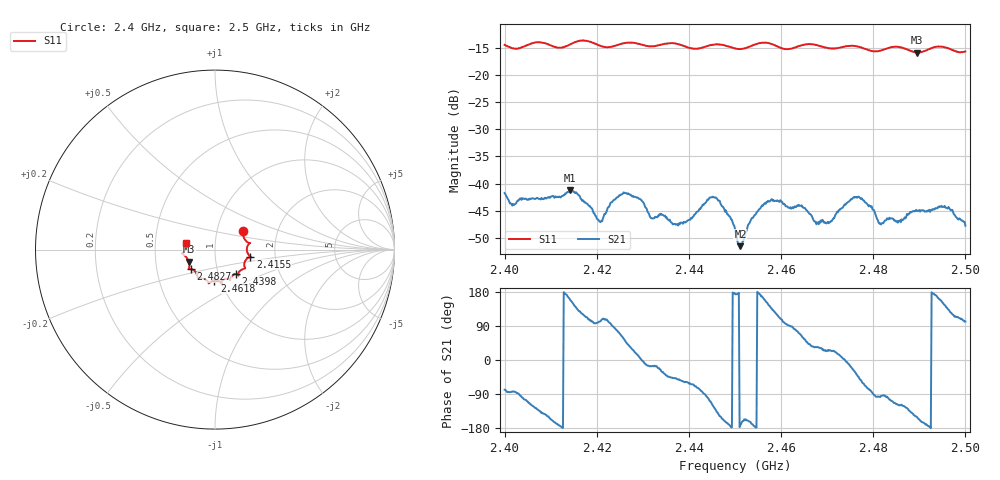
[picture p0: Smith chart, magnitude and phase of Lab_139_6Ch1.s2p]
# Hz S RI R 50
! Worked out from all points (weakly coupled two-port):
!   601 points, 2.4 GHz to 2.5 GHz, reference 50 ohm
!   highest |S21| = -41.18 dB at 2.4142 GHz (marker M1); lowest = -51.5 dB at 2.4512 GHz (marker M2)
!   lowest |S11| = -15.9 dB at 2.4895 GHz (marker M3), VSWR 1.38, Z = 37 - j5.04 ohm
!   |S11| at or under -10 dB: start of sweep to end of sweep
!   S12 and S22 are empty: the file has one direction only
!   S11 on the Smith chart (normalised r, x): 2.4 GHz: 1.33, +0.29; 2.4155 GHz: 1.49, -0.12; 2.4398 GHz: 1.21, -0.34; 2.4618 GHz: 0.94, -0.33; 2.4827 GHz: 0.75, -0.17; 2.5 GHz: 0.72, +0.06
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2.4e9  0.1557 0.1063  0.00165 -0.00803  0 0  0 0
2.402e9  0.1582 0.0737  0.00078 -0.00629  0 0  0 0
2.414167e9  0.1879 -0.0292  -0.00821 0.00298  0 0  0 0
2.4155e9  0.1974 -0.0394  -0.00625 0.00552  0 0  0 0
2.416667e9  0.2022 -0.0429  -0.00393 0.006  0 0  0 0
2.420667e9  0.1784 -0.0499  -0.000888 0.00437  0 0  0 0
2.426e9  0.1672 -0.1018  0.0048 0.00669  0 0  0 0
2.433333e9  0.1298 -0.1339  0.00473 -0.00187  0 0  0 0
2.439833e9  0.1153 -0.1357  0.00232 -0.00398  0 0  0 0
2.4455e9  0.0843 -0.1702  -0.00441 -0.00606  0 0  0 0
2.45e9  0.0653 -0.1623  -0.00382 0.000374  0 0  0 0
2.451167e9  0.0522 -0.1642  -0.00263 -0.000383  0 0  0 0
2.456667e9  0.039 -0.1937  -0.00589 0.00279  0 0  0 0
2.461833e9  -0.0036 -0.1729  -4.18e-05 0.00599  0 0  0 0
2.466667e9  -0.0351 -0.188  0.00407 0.00298  0 0  0 0
2.470333e9  -0.0513 -0.168  0.00394 0.00178  0 0  0 0
2.4765e9  -0.0957 -0.1556  0.0057 -0.00474  0 0  0 0
2.482667e9  -0.1347 -0.1086  -0.000401 -0.00458  0 0  0 0
2.483333e9  -0.1398 -0.1082  -0.000933 -0.00461  0 0  0 0
2.4895e9  -0.1458 -0.0664  -0.00489 -0.00274  0 0  0 0
2.496e9  -0.1763 -0.0154  -0.00443 0.00397  0 0  0 0
2.5e9  -0.1593 0.0389  -0.00082 0.00402  0 0  0 0
